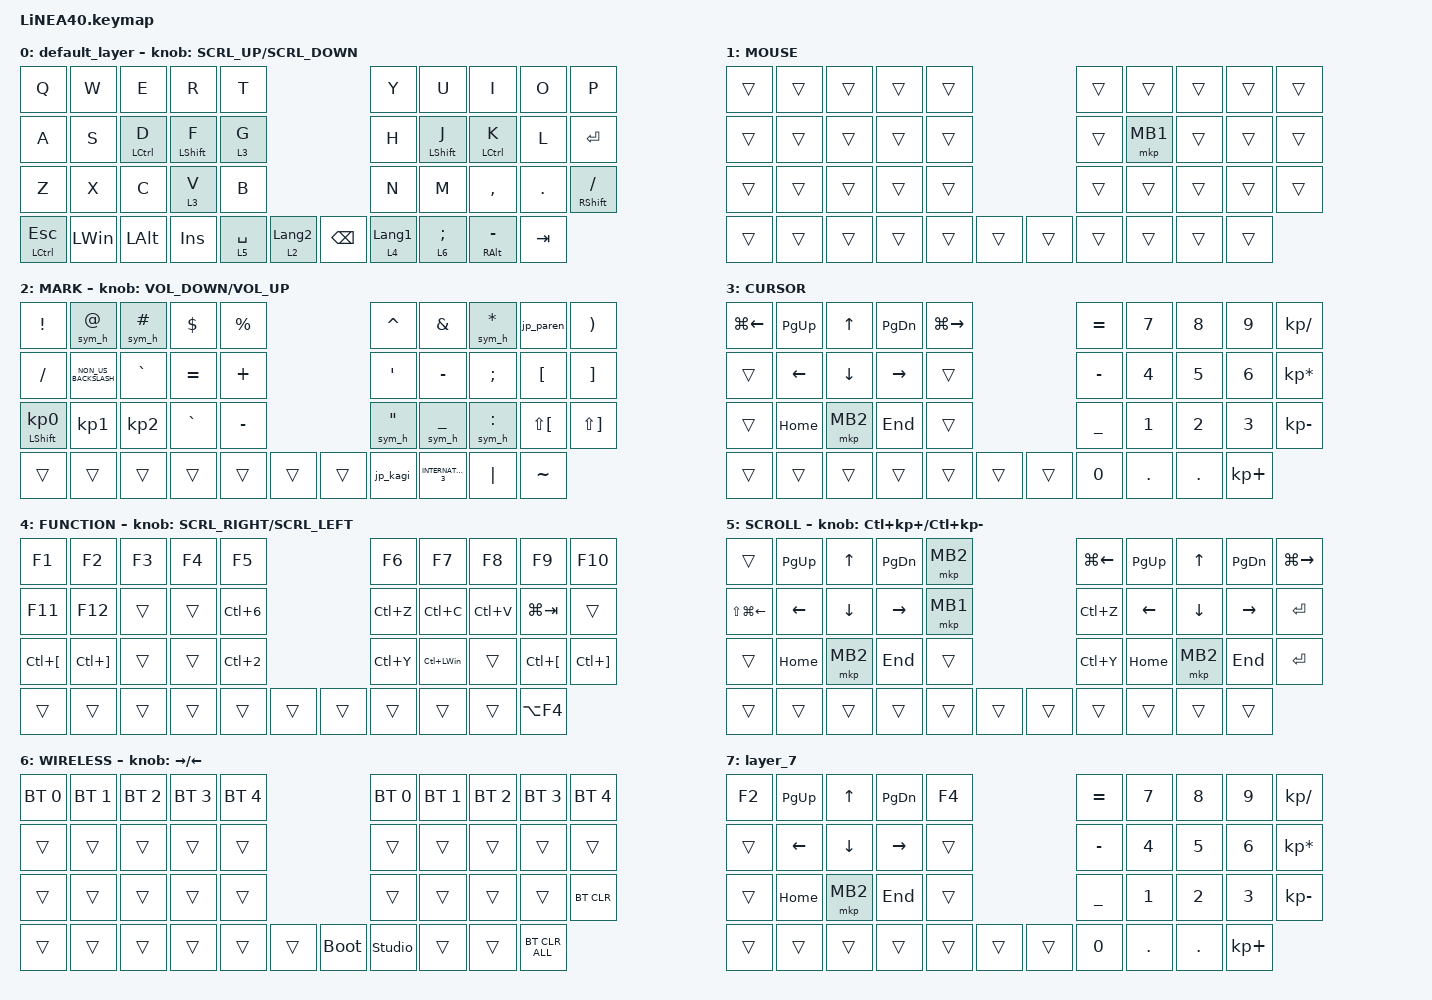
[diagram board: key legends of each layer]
#define ZMK_POINTING_DEFAULT_SCRL_VAL 150

#include <dt-bindings/zmk/input_transform.h>
#include <input/processors.dtsi>
#include <zephyr/dt-bindings/input/input-event-codes.h>
#include <behaviors.dtsi>
#include <dt-bindings/zmk/bt.h>
#include <dt-bindings/zmk/keys.h>
#include <dt-bindings/zmk/pointing.h>

#define MOUSE 1
#define MARK 2
#define CURSOR 3
#define FUNCTION 4
#define SCROLL 5
#define WIRELESS 6

// Home row mods: 反対の手+最下段のキーでだけホールド扱いにする

#define KEYS_L 0 1 2 3 4 10 11 12 13 14 20 21 22 23 24
#define KEYS_R 5 6 7 8 9 15 16 17 18 19 25 26 27 28 29
#define THUMBS 30 31 32 33 34 35 36 37 38 39 40

//mouse cursol

&mmv {
    delay-ms = <20>;
    trigger-period-ms = <5>;
    time-to-max-speed-ms = <100>;
    acceleration-exponent = <2>;
};

//mouse scroll

&msc {
    delay-ms = <3>;
    trigger-period-ms = <3>;
    time-to-max-speed-ms = <100>;
    acceleration-exponent = <0>;
};

/ {
    input_processors {
        zip_wheel_scaler: zip_wheel_scaler {
            compatible = "zmk,input-processor-scaler";
            #input-processor-cells = <2>;
            type = <INPUT_EV_REL>;
            codes = <INPUT_REL_WHEEL>;
            track-remainders;
        };
    };
};

&msc_input_listener {
    speed_up {
        layers = <FUNCTION>;
        input-processors = <&zip_wheel_scaler 3 1>; //スクロールを3倍速にする
    };
};

&mkp_input_listener { input-processors = <&zip_temp_layer 1 5000>; };

&trackball_listener {
    scroller {
        layers = <SCROLL>;
        input-processors =
            <&zip_xy_transform INPUT_TRANSFORM_Y_INVERT>,
            //スクロール方向を逆転,,,,,,,,,,,,,,,,,,,,,,,,,,,,,,,,,,,,,,,,,,,,,,,,,,,,,,,,,,
            <&zip_xy_to_scroll_mapper>;
    };
};

/ {
    combos {
        compatible = "zmk,combos";

        tab {
            bindings = <&kp TAB>;
            key-positions = <11 12>;
        };

        DeleteKey {
            bindings = <&kp DEL>;
            key-positions = <7 8>;
        };

        CenterClick {
            bindings = <&mkp MB3>;
            key-positions = <16 7>;
        };

        RightClick {
            bindings = <&mkp MB2>;
            key-positions = <18 17>;
        };

        PrevClick {
            bindings = <&mkp MB4>;
            key-positions = <27 26>;
        };

        ClickNext {
            bindings = <&mkp MB5>;
            key-positions = <27 28>;
        };

        undo-right {
            bindings = <&kp LC(Z)>;
            key-positions = <6 7>;
        };

        undo-lefft {
            bindings = <&kp LC(Z)>;
            key-positions = <3 2>;
        };

        minus {
            bindings = <&kp MINUS>;
            key-positions = <1 2>;
        };
    };

    behaviors {
        re_kp: sensor_rotate_kp {
            compatible = "zmk,behavior-sensor-rotate-var";
            #sensor-binding-cells = <2>;
            bindings = <&kp>, <&kp>;
        };

        mouse_scrl: mouse_wheel_scrl {
            compatible = "zmk,behavior-sensor-rotate-var";
            #sensor-binding-cells = <2>;
            bindings = <&msc>, <&msc>;

            tap-ms = <20>;
        };

        mt_ctrl_a_slow: mod_tap_ctrl_a_slow {
            compatible = "zmk,behavior-hold-tap";
            #binding-cells = <2>;

            // Aを普通に打つ動作を優先し、Ctrl誤爆を減らす設定

            flavor = "tap-preferred";
            tapping-term-ms = <280>;
            quick-tap-ms = <175>;
            require-prior-idle-ms = <150>;
            retro-tap;
            bindings = <&kp>, <&kp>;
        };

        mt_shift_z_slow: mod_tap_shift_z_slow {
            compatible = "zmk,behavior-hold-tap";
            #binding-cells = <2>;
            flavor = "tap-preferred";
            tapping-term-ms = <250>;
            quick-tap-ms = <150>;
            retro-tap;
            bindings = <&kp>, <&kp>;
        };

        // 左手ホーム段 Mod-Tap (D=Ctrl, F=Shift)

        hml: home_row_mod_left {
            compatible = "zmk,behavior-hold-tap";
            #binding-cells = <2>;
            flavor = "balanced";
            tapping-term-ms = <280>;
            quick-tap-ms = <175>;
            require-prior-idle-ms = <150>;
            hold-trigger-key-positions = <KEYS_R THUMBS>;
            hold-trigger-on-release;
            bindings = <&kp>, <&kp>;
        };

        // 右手ホーム段 Mod-Tap (J=Shift, K=Ctrl)

        hmr: home_row_mod_right {
            compatible = "zmk,behavior-hold-tap";
            #binding-cells = <2>;
            flavor = "balanced";
            tapping-term-ms = <280>;
            quick-tap-ms = <175>;
            require-prior-idle-ms = <150>;
            hold-trigger-key-positions = <KEYS_L THUMBS>;
            hold-trigger-on-release;
            bindings = <&kp>, <&kp>;
        };
    };

    macros {
        // 半角記号：IMEをOFF（半角英数）にしてから指定記号を入力

        sym_h: sym_h {
            compatible = "zmk,behavior-macro-one-param";
            #binding-cells = <1>;
            wait-ms = <40>;
            tap-ms = <10>;
            bindings = <&kp LANGUAGE_2 &macro_param_1to1 &kp MACRO_PLACEHOLDER>;
        };

        // 半角括弧ペア：IMEをOFF → 開き括弧 → 閉じ括弧 → カーソルを中へ
        // 例：&sym_pair LPAR RPAR は () を入力してカーソルを括弧内に移動

        sym_pair: sym_pair {
            compatible = "zmk,behavior-macro-two-param";
            #binding-cells = <2>;
            wait-ms = <40>;
            tap-ms = <10>;
            bindings = <&kp LANGUAGE_2 &macro_param_1to1 &kp MACRO_PLACEHOLDER &macro_param_2to1 &kp MACRO_PLACEHOLDER &kp LEFT_ARROW>;
        };

        // 半角括弧ペア：IMEをOFF → () → カーソルを中へ → IMEをON
        // 日本語入力中でも半角()を入力し、日本語入力に戻す

        jp_paren: jp_paren {
            compatible = "zmk,behavior-macro";
            #binding-cells = <0>;
            wait-ms = <40>;
            tap-ms = <40>;
            bindings = <&kp LANGUAGE_2 &kp LPAR &kp RPAR &kp LEFT_ARROW &kp LANGUAGE_1>;
        };

        // 日本語「」：IMEをON → 「」入力 → 確定 → カーソルを中へ

        jp_kagi: jp_kagi {
            compatible = "zmk,behavior-macro";
            #binding-cells = <0>;
            wait-ms = <40>;
            tap-ms = <40>;
            bindings = <&kp LANGUAGE_1 &kp LEFT_BRACKET &kp RIGHT_BRACKET &kp ENTER &kp LEFT_ARROW>;
        };
    };

    keymap {
        compatible = "zmk,keymap";

        default_layer {
            bindings = <
&kp Q          &kp W         &kp E         &kp R         &kp T                                           &kp Y             &kp U              &kp I                &kp O                &kp P
&kp A          &kp S         &hml LCTRL D  &hml LSHFT F  &lt 3 G                                         &kp H             &hmr LEFT_SHIFT J  &hmr LEFT_CONTROL K  &kp L                &kp RETURN
&kp Z          &kp X         &kp C         &lt 3 V       &kp B                                           &kp N             &kp M              &kp COMMA            &kp DOT              &mt RIGHT_SHIFT SLASH
&mt LCTRL ESC  &kp LEFT_WIN  &kp LEFT_ALT  &kp INS       &lt 5 SPACE  &lt 2 LANGUAGE_2    &kp BACKSPACE  &lt 4 LANGUAGE_1                     &lt 6 SEMI           &mt RIGHT_ALT MINUS  &kp TAB
            >;

            sensor-bindings = <&mouse_scrl SCRL_UP SCRL_DOWN>;
        };

        //1

        MOUSE {
            bindings = <
&trans  &trans  &trans  &trans  &trans                    &trans  &trans    &trans  &trans  &trans
&trans  &trans  &trans  &trans  &trans                    &trans  &mkp MB1  &trans  &trans  &trans
&trans  &trans  &trans  &trans  &trans                    &trans  &trans    &trans  &trans  &trans
&trans  &trans  &trans  &trans  &trans  &trans    &trans  &trans            &trans  &trans  &trans
            >;
        };

        //2

        MARK {
            bindings = <
&kp EXCLAMATION             &sym_h AT             &sym_h HASH      &kp DOLLAR  &kp PERCENT                    &kp CARET             &kp AMPERSAND      &sym_h ASTERISK      &jp_paren             &kp RIGHT_PARENTHESIS
&kp SLASH                   &kp NON_US_BACKSLASH  &kp GRAVE        &kp EQUAL   &kp PLUS                       &kp SQT               &kp MINUS          &kp SEMICOLON        &kp LEFT_BRACKET      &kp RIGHT_BRACKET
&mt LEFT_SHIFT KP_NUMBER_0  &kp KP_NUMBER_1       &kp KP_NUMBER_2  &kp GRAVE   &kp MINUS                      &sym_h DOUBLE_QUOTES  &sym_h UNDERSCORE  &sym_h COLON         &kp LS(LEFT_BRACKET)  &kp LS(RIGHT_BRACKET)
&trans                      &trans                &trans           &trans      &trans       &trans    &trans  &jp_kagi                                 &kp INTERNATIONAL_3  &kp PIPE              &kp TILDE
            >;

            sensor-bindings = <&re_kp C_VOLUME_DOWN C_VOLUME_UP>;
        };

        //3

        CURSOR {
            bindings = <
&kp LG(LEFT_ARROW)  &kp PG_UP       &kp UP_ARROW  &kp PAGE_DOWN    &kp LG(RIGHT_ARROW)                    &kp EQUAL     &kp NUMBER_7  &kp NUMBER_8  &kp NUMBER_9  &kp KP_SLASH
&trans              &kp LEFT_ARROW  &kp DOWN      &kp RIGHT_ARROW  &trans                                 &kp MINUS     &kp NUMBER_4  &kp NUMBER_5  &kp NUMBER_6  &kp KP_MULTIPLY
&trans              &kp HOME        &mkp MB2      &kp END          &trans                                 &kp UNDER     &kp NUMBER_1  &kp NUMBER_2  &kp NUMBER_3  &kp KP_MINUS
&trans              &trans          &trans        &trans           &trans               &trans    &trans  &kp NUMBER_0                &kp DOT       &kp DOT       &kp KP_PLUS
            >;
        };

        //4

        FUNCTION {
            bindings = <
&kp F1                &kp F2                 &kp F3  &kp F4  &kp F5                              &kp F6     &kp F7            &kp F8     &kp F9                &kp F10
&kp F11               &kp F12                &trans  &trans  &kp LC(NUMBER_6)                    &kp LC(Z)  &kp LC(C)         &kp LC(V)  &kp LG(TAB)           &trans
&kp LC(LEFT_BRACKET)  &kp LC(RIGHT_BRACKET)  &trans  &trans  &kp LC(NUMBER_2)                    &kp LC(Y)  &kp LC(LEFT_WIN)  &trans     &kp LC(LEFT_BRACKET)  &kp LC(RIGHT_BRACKET)
&trans                &trans                 &trans  &trans  &trans            &trans    &trans  &trans                       &trans     &trans                &kp LA(F4)
            >;

            sensor-bindings = <&mouse_scrl SCRL_RIGHT SCRL_LEFT>;
        };

        //5

        SCROLL {
            bindings = <
&trans            &kp PG_UP       &kp UP_ARROW  &kp PAGE_DOWN    &mkp MB2                    &kp LG(LEFT_ARROW)  &kp PG_UP       &kp UP_ARROW    &kp PAGE_DOWN    &kp LG(RIGHT_ARROW)
&kp LS(LG(LEFT))  &kp LEFT_ARROW  &kp DOWN      &kp RIGHT_ARROW  &mkp MB1                    &kp LC(Z)           &kp LEFT_ARROW  &kp DOWN_ARROW  &kp RIGHT_ARROW  &kp ENTER
&trans            &kp HOME        &mkp MB2      &kp END          &trans                      &kp LC(Y)           &kp HOME        &mkp MB2        &kp END          &kp ENTER
&trans            &trans          &trans        &trans           &trans    &trans    &trans  &trans                              &trans          &trans           &trans
            >;

            // Encoder zoom
            // 時計回り: 拡大 Ctrl + +
            // 反時計回り: 縮小 Ctrl + -

            sensor-bindings = <&re_kp LC(KP_PLUS) LC(KP_MINUS)>;
        };

        //6

        WIRELESS {
            bindings = <
&bt BT_SEL 0  &bt BT_SEL 1  &bt BT_SEL 2  &bt BT_SEL 3  &bt BT_SEL 4                         &bt BT_SEL 0    &bt BT_SEL 1  &bt BT_SEL 2  &bt BT_SEL 3  &bt BT_SEL 4
&trans        &trans        &trans        &trans        &trans                               &trans          &trans        &trans        &trans        &trans
&trans        &trans        &trans        &trans        &trans                               &trans          &trans        &trans        &trans        &bt BT_CLR
&trans        &trans        &trans        &trans        &trans        &trans    &bootloader  &studio_unlock                &trans        &trans        &bt BT_CLR_ALL
            >;

            sensor-bindings = <&inc_dec_kp RIGHT_ARROW LEFT_ARROW>;
        };

        layer_7 {
            bindings = <
&kp F2  &kp PG_UP       &kp UP_ARROW  &kp PAGE_DOWN    &kp F4                    &kp EQUAL     &kp NUMBER_7  &kp NUMBER_8  &kp NUMBER_9  &kp KP_SLASH
&trans  &kp LEFT_ARROW  &kp DOWN      &kp RIGHT_ARROW  &trans                    &kp MINUS     &kp NUMBER_4  &kp NUMBER_5  &kp NUMBER_6  &kp KP_MULTIPLY
&trans  &kp HOME        &mkp MB2      &kp END          &trans                    &kp UNDER     &kp NUMBER_1  &kp NUMBER_2  &kp NUMBER_3  &kp KP_MINUS
&trans  &trans          &trans        &trans           &trans  &trans    &trans  &kp NUMBER_0                &kp DOT       &kp DOT       &kp KP_PLUS
            >;
        };
    };
};
